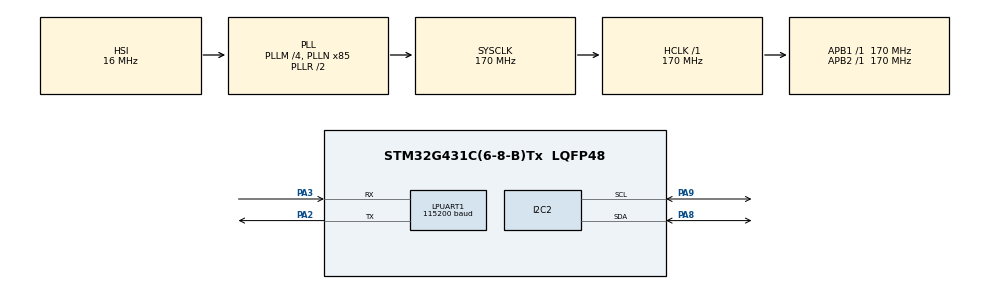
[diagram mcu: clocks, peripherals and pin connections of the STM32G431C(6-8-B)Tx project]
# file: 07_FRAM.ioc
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I2C2.I2C_Fall_Time=0
I2C2.I2C_Rise_Time=0
I2C2.Speed=50
I2C2.Timing=0x904051FF
LPUART1.BaudRate=115200
Mcu.Family=STM32G4
Mcu.Name=STM32G431C(6-8-B)Tx
Mcu.Package=LQFP48
NVIC.PriorityGroup=NVIC_PRIORITYGROUP_4
PA13.Mode=Serial_Wire
PA13.Signal=SYS_JTMS-SWDIO
PA14.Mode=Serial_Wire
PA14.Signal=SYS_JTCK-SWCLK
PA2.Mode=Asynchronous
PA2.Signal=LPUART1_TX
PA3.GPIO_PuPd=GPIO_PULLUP
PA3.Mode=Asynchronous
PA3.Signal=LPUART1_RX
PA8.Mode=I2C
PA8.Signal=I2C2_SDA
PA9.Mode=I2C
PA9.Signal=I2C2_SCL
PF0-OSC_IN.Mode=HSE-External-Oscillator
PF0-OSC_IN.Signal=RCC_OSC_IN
PF1-OSC_OUT.Mode=HSE-External-Oscillator
PF1-OSC_OUT.Signal=RCC_OSC_OUT
ProjectManager.HeapSize=0x200
ProjectManager.StackSize=0x400
ProjectManager.TargetToolchain=STM32CubeIDE
RCC.ADC12Freq_Value=170000000
RCC.AHBFreq_Value=170000000
RCC.APB1Freq_Value=170000000
RCC.APB1TimFreq_Value=170000000
RCC.APB2Freq_Value=170000000
RCC.APB2TimFreq_Value=170000000
RCC.CortexFreq_Value=170000000
RCC.EXTERNAL_CLOCK_VALUE=12288000
RCC.HCLKFreq_Value=170000000
RCC.HSE_VALUE=8000000
RCC.HSI48_VALUE=48000000
RCC.HSI_VALUE=16000000
RCC.LSE_VALUE=32768
RCC.PLLM=RCC_PLLM_DIV4
RCC.PLLN=85
RCC.SYSCLKFreq_VALUE=170000000
RCC.SYSCLKSource=RCC_SYSCLKSOURCE_PLLCLK
RCC.USBFreq_Value=170000000
RCC.VCOOutputFreq_Value=340000000
VP_SYS_VS_DBSignals.Mode=DisableDeadBatterySignals
board=custom

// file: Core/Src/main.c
/* USER CODE BEGIN Header */
/**
  ******************************************************************************
  * @file           : main.c
  * @brief          : Main program body
  ******************************************************************************
  * @attention
  *
  * Copyright (c) 2024 STMicroelectronics.
  * All rights reserved.
  *
  * This software is licensed under terms that can be found in the LICENSE file
  * in the root directory of this software component.
  * If no LICENSE file comes with this software, it is provided AS-IS.
  *
  ******************************************************************************
  */
/* USER CODE END Header */
#include "main.h"

/* USER CODE BEGIN Includes */
#include <stdio.h>
/* USER CODE END Includes */

I2C_HandleTypeDef hi2c2;

UART_HandleTypeDef hlpuart1;

void SystemClock_Config(void);
static void MX_GPIO_Init(void);
static void MX_LPUART1_UART_Init(void);
static void MX_I2C2_Init(void);

/* USER CODE BEGIN 0 */
int __io_putchar(int ch)
{
  if(HAL_UART_Transmit(&hlpuart1, (uint8_t *)&ch, 1, 10) != HAL_OK)
  {
    return -1;
  }
  return ch;
}
/* USER CODE END 0 */

int main(void)
{

  /* MCU Configuration--------------------------------------------------------*/

  /* Reset of all peripherals, Initializes the Flash interface and the Systick. */
  HAL_Init();

  /* Configure the system clock */
  SystemClock_Config();

  /* Initialize all configured peripherals */
  MX_GPIO_Init();
  MX_LPUART1_UART_Init();
  MX_I2C2_Init();

  /* USER CODE BEGIN 2 */
  printf("hello fram(i2c2)\r\n");
    uint8_t compare_fail=0;
    HAL_StatusTypeDef status;
    uint8_t tx_Buffer[32]; //32 bytes per page for write
    uint8_t rx_Buffer[32];

    for(uint16_t i=0;i<32;i++)
    {
      tx_Buffer[i] = i;
    }
    status = HAL_I2C_Mem_Write(&hi2c2, 0xA0, 0x00, 2, tx_Buffer, 32, HAL_MAX_DELAY);
    if(status != HAL_OK)
    {
      printf("fram write failed[%x]\r\n", status);
    }

    status = HAL_I2C_Mem_Read(&hi2c2, 0xA0, 0x00, 2, rx_Buffer, 32, HAL_MAX_DELAY);
    if(status != HAL_OK)
    {
    printf("fram read failed[%x]\r\n", status);
    }

    //verify eeprom
    for(uint16_t i=0; i<32; i++)
    {
      if(tx_Buffer[i] != rx_Buffer[i])
      {
        printf("fram verify failed %d[%02x:%02x]\r\n", i, tx_Buffer[i], rx_Buffer[i]);
        compare_fail = 1;
        break;
      }
    }
    if (!compare_fail)
    {
      printf("fram verify %s\r\n", rx_Buffer);
    }
  /* USER CODE END 2 */

  /* Infinite loop */
  while (1)
  {

  }
}

void SystemClock_Config(void)
{
  RCC_OscInitTypeDef RCC_OscInitStruct = {0};
  RCC_ClkInitTypeDef RCC_ClkInitStruct = {0};

  /** Configure the main internal regulator output voltage
  */
  HAL_PWREx_ControlVoltageScaling(PWR_REGULATOR_VOLTAGE_SCALE1_BOOST);

  /** Initializes the RCC Oscillators according to the specified parameters
  * in the RCC_OscInitTypeDef structure.
  */
  RCC_OscInitStruct.OscillatorType = RCC_OSCILLATORTYPE_HSI;
  RCC_OscInitStruct.HSIState = RCC_HSI_ON;
  RCC_OscInitStruct.HSICalibrationValue = RCC_HSICALIBRATION_DEFAULT;
  RCC_OscInitStruct.PLL.PLLState = RCC_PLL_ON;
  RCC_OscInitStruct.PLL.PLLSource = RCC_PLLSOURCE_HSI;
  RCC_OscInitStruct.PLL.PLLM = RCC_PLLM_DIV4;
  RCC_OscInitStruct.PLL.PLLN = 85;
  RCC_OscInitStruct.PLL.PLLP = RCC_PLLP_DIV2;
  RCC_OscInitStruct.PLL.PLLQ = RCC_PLLQ_DIV2;
  RCC_OscInitStruct.PLL.PLLR = RCC_PLLR_DIV2;
  if (HAL_RCC_OscConfig(&RCC_OscInitStruct) != HAL_OK)
  {
    Error_Handler();
  }

  /** Initializes the CPU, AHB and APB buses clocks
  */
  RCC_ClkInitStruct.ClockType = RCC_CLOCKTYPE_HCLK|RCC_CLOCKTYPE_SYSCLK
                              |RCC_CLOCKTYPE_PCLK1|RCC_CLOCKTYPE_PCLK2;
  RCC_ClkInitStruct.SYSCLKSource = RCC_SYSCLKSOURCE_PLLCLK;
  RCC_ClkInitStruct.AHBCLKDivider = RCC_SYSCLK_DIV1;
  RCC_ClkInitStruct.APB1CLKDivider = RCC_HCLK_DIV1;
  RCC_ClkInitStruct.APB2CLKDivider = RCC_HCLK_DIV1;

  if (HAL_RCC_ClockConfig(&RCC_ClkInitStruct, FLASH_LATENCY_4) != HAL_OK)
  {
    Error_Handler();
  }
}

static void MX_I2C2_Init(void)
{

  hi2c2.Instance = I2C2;
  hi2c2.Init.Timing = 0x904051FF;
  hi2c2.Init.OwnAddress1 = 0;
  hi2c2.Init.AddressingMode = I2C_ADDRESSINGMODE_7BIT;
  hi2c2.Init.DualAddressMode = I2C_DUALADDRESS_DISABLE;
  hi2c2.Init.OwnAddress2 = 0;
  hi2c2.Init.OwnAddress2Masks = I2C_OA2_NOMASK;
  hi2c2.Init.GeneralCallMode = I2C_GENERALCALL_DISABLE;
  hi2c2.Init.NoStretchMode = I2C_NOSTRETCH_DISABLE;
  if (HAL_I2C_Init(&hi2c2) != HAL_OK)
  {
    Error_Handler();
  }

  /** Configure Analogue filter
  */
  if (HAL_I2CEx_ConfigAnalogFilter(&hi2c2, I2C_ANALOGFILTER_ENABLE) != HAL_OK)
  {
    Error_Handler();
  }

  /** Configure Digital filter
  */
  if (HAL_I2CEx_ConfigDigitalFilter(&hi2c2, 0) != HAL_OK)
  {
    Error_Handler();
  }

}

static void MX_LPUART1_UART_Init(void)
{

  hlpuart1.Instance = LPUART1;
  hlpuart1.Init.BaudRate = 115200;
  hlpuart1.Init.WordLength = UART_WORDLENGTH_8B;
  hlpuart1.Init.StopBits = UART_STOPBITS_1;
  hlpuart1.Init.Parity = UART_PARITY_NONE;
  hlpuart1.Init.Mode = UART_MODE_TX_RX;
  hlpuart1.Init.HwFlowCtl = UART_HWCONTROL_NONE;
  hlpuart1.Init.OneBitSampling = UART_ONE_BIT_SAMPLE_DISABLE;
  hlpuart1.Init.ClockPrescaler = UART_PRESCALER_DIV1;
  hlpuart1.AdvancedInit.AdvFeatureInit = UART_ADVFEATURE_NO_INIT;
  if (HAL_UART_Init(&hlpuart1) != HAL_OK)
  {
    Error_Handler();
  }
  if (HAL_UARTEx_SetTxFifoThreshold(&hlpuart1, UART_TXFIFO_THRESHOLD_1_8) != HAL_OK)
  {
    Error_Handler();
  }
  if (HAL_UARTEx_SetRxFifoThreshold(&hlpuart1, UART_RXFIFO_THRESHOLD_1_8) != HAL_OK)
  {
    Error_Handler();
  }
  if (HAL_UARTEx_DisableFifoMode(&hlpuart1) != HAL_OK)
  {
    Error_Handler();
  }

}

static void MX_GPIO_Init(void)
{

  /* GPIO Ports Clock Enable */
  __HAL_RCC_GPIOF_CLK_ENABLE();
  __HAL_RCC_GPIOA_CLK_ENABLE();

}

void Error_Handler(void)
{
  __disable_irq();
  while (1)
  {
  }
}
